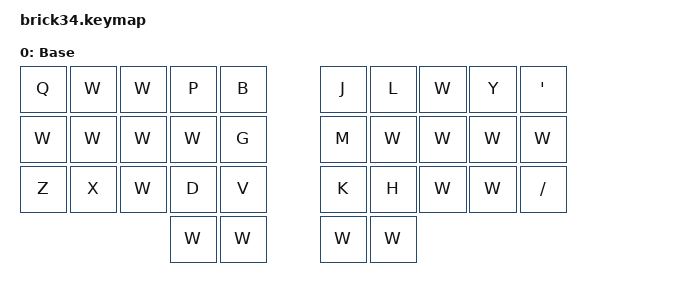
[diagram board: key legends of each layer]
// ZMK includes
#include <behaviors.dtsi>
#include <dt-bindings/zmk/keys.h>
#include <dt-bindings/zmk/bt.h>
#include <dt-bindings/zmk/ext_power.h>
#include <dt-bindings/zmk/outputs.h>

#include "../zmk-nodefree-config/helper.h"

// Personal includes
// #include "includes/custom_keycodes.dtsi"
// #include "includes/settings.dtsi"
// #include "includes/conditional_layers.dtsi"
// #include "includes/macros.dtsi"
// #include "includes/combos.dtsi"
// #include "includes/behaviours_homerow_mods.dtsi"
// #include "includes/behaviours_mod_morph.dtsi"
// #include "includes/behaviours_other.dtsi"

// Layer definitions
#define BASE 0
// #define BASE_QWERTY 1
// #define NAV_WORD 2
// #define NUM_WORD 3
// #define SYM_WORD 4
// #define NAV 5
// #define NUM 6
// #define SYM 7
// #define FUNC 8
// #define ADJUST 9
// #define LOWER 10
// -----------------


/ {

  keymap {
    compatible = "zmk,keymap";

    Base_layer {
      label = "Base";
      bindings = <
// ╭────────────────────────┬────────────────────────┬────────────────────────┬────────────────────────┬────────────────────────╮    ╭────────────────────────┬────────────────────────┬────────────────────────┬───────────────────────┬────────────────────────╮
     &kp Q                    &kp W                    &kp W         &kp P                    &kp B                         &kp J                    &kp L                    &kp W         &kp Y                    &kp SINGLE_QUOTE
// ├────────────────────────┼────────────────────────┼────────────────────────┼────────────────────────┼────────────────────────┤    ├────────────────────────┼────────────────────────┼────────────────────────┼───────────────────────┼────────────────────────┤
     &kp W            &kp W             &kp W             &kp W      &kp G                         &kp M                    &kp W      &kp W             &kp W             &kp W
// ├────────────────────────┼────────────────────────┼────────────────────────┼────────────────────────┼────────────────────────┤    ├────────────────────────┼────────────────────────┼────────────────────────┼───────────────────────┼────────────────────────┤
     &kp Z                    &kp X                    &kp W           &kp D                    &kp V                         &kp K                    &kp H                    &kp W       &kp W            &kp SLASH
// ╰────────────────────────┴────────────────────────┴────────────────────────┼────────────────────────┼────────────────────────┤    ├────────────────────────┼────────────────────────┼────────────────────────┼───────────────────────┼────────────────────────╯
                                                                  &kp W       &kp W                &kp W             &kp W           
//                                                   ╰────────────────────────┴────────────────────────┴────────────────────────╯    ╰────────────────────────┴────────────────────────┴────────────────────────╯

      >;
    };

//     Base_Qwerty_layer {
//       label = "QWERTY";
//       bindings = <
// // ╭────────────────────────┬────────────────────────┬────────────────────────┬────────────────────────┬────────────────────────╮    ╭────────────────────────┬────────────────────────┬────────────────────────┬────────────────────────┬────────────────────────╮
//      &trans                   &trans                   &kp E                    &kp R                    &kp T                         &kp Y                    &kp U                    &kp I                    &kp O                    &kp P
// // ├────────────────────────┼────────────────────────┼────────────────────────┼────────────────────────┼────────────────────────┤    ├────────────────────────┼────────────────────────┼────────────────────────┼────────────────────────┼────────────────────────┤
//      &kp A                    &kp S                    &kp D                    &kp F                    &trans                        &kp H                    &kp J                    &kp K                    &kp L                    &kp SEMICOLON
// // ├────────────────────────┼────────────────────────┼────────────────────────┼────────────────────────┼────────────────────────┤    ├────────────────────────┼────────────────────────┼────────────────────────┼────────────────────────┼────────────────────────┤
//      &trans                   &trans                   &kp C                    &kp V                    &kp B                         &kp N                    &kp M                    &kp COMMA                &trans                   &trans
// // ╰────────────────────────┴────────────────────────┴────────────────────────┼────────────────────────┼────────────────────────┤    ├────────────────────────┼────────────────────────┼────────────────────────┼────────────────────────┴────────────────────────╯
//                                                                           &trans                   &trans                        &trans                   &trans                   
// //                                                   ╰────────────────────────┴────────────────────────┴────────────────────────╯    ╰────────────────────────┴────────────────────────┴────────────────────────╯
//       >;
//     };

//     Nav_Word_layer {
//       label = "Nav Word";
//       bindings = <
// // ╭────────────────────────┬────────────────────────┬────────────────────────┬────────────────────────┬────────────────────────╮    ╭────────────────────────┬────────────────────────┬────────────────────────┬────────────────────────┬────────────────────────╮
//      &trans                   &kp LG(LEFT)             &none                    &kp LG(RIGHT)            &kp PG_UP                     &trans                   &trans                   &trans                   &trans                   &trans
// // ├────────────────────────┼────────────────────────┼────────────────────────┼────────────────────────┼────────────────────────┤    ├────────────────────────┼────────────────────────┼────────────────────────┼────────────────────────┼────────────────────────┤
//      &kt LSHFT                &kp LEFT                 &mm_up_save              &kp RIGHT                &kp PG_DN                     &trans                   &trans                   &trans                   &trans                   &trans
// // ├────────────────────────┼────────────────────────┼────────────────────────┼────────────────────────┼────────────────────────┤    ├────────────────────────┼────────────────────────┼────────────────────────┼────────────────────────┼────────────────────────┤
//      &trans                   &mm_left_word_cut        &mm_down_copy            &kp MY_RIGHT_W           &trans                        &trans                   &trans                   &trans                   &trans                   &trans
// // ╰────────────────────────┴────────────────────────┴────────────────────────┼────────────────────────┼────────────────────────┤    ├────────────────────────┼────────────────────────┼────────────────────────┼────────────────────────┴────────────────────────╯
//                                                              &trans                   &trans                        &trans                   &trans                   
// //                                                   ╰────────────────────────┴────────────────────────┴────────────────────────╯    ╰────────────────────────┴────────────────────────┴────────────────────────╯
//       >;
//     };

//     Num_Word_layer {
//       label = "Num Word";
//       bindings = <
// // ╭────────────────────────┬────────────────────────┬────────────────────────┬────────────────────────┬────────────────────────╮    ╭────────────────────────┬────────────────────────┬────────────────────────┬────────────────────────┬────────────────────────╮
//      &trans                   &kp NUMBER_7             &kp NUMBER_8             &kp NUMBER_9             &trans                        &trans                   &kp DOLLAR               &trans                   &trans                   &trans
// // ├────────────────────────┼────────────────────────┼────────────────────────┼────────────────────────┼────────────────────────┤    ├────────────────────────┼────────────────────────┼────────────────────────┼────────────────────────┼────────────────────────┤
//      &hm_l LCTRL NUMBER_0     &hm_l LALT NUMBER_4      &mm_5_save               &hm_l LSHFT NUMBER_6     &kp NUMBER_0                  &kp PLUS                 &trans                   &hm_r RGUI EQUAL         &trans                   &hm_r RCTRL ASTERISK
// // ├────────────────────────┼────────────────────────┼────────────────────────┼────────────────────────┼────────────────────────┤    ├────────────────────────┼────────────────────────┼────────────────────────┼────────────────────────┼────────────────────────┤
//      &trans                   &mm_1_cut                &mm_2_copy               &kp NUMBER_3             &trans                        &kp PERCENT              &kp MINUS                &trans                   &trans                   &trans
// // ╰────────────────────────┴────────────────────────┴────────────────────────┼────────────────────────┼────────────────────────┤    ├────────────────────────┼────────────────────────┼────────────────────────┼────────────────────────┴────────────────────────╯
//                                                              &trans                   &trans                        &trans                   &trans                   
// //                                                   ╰────────────────────────┴────────────────────────┴────────────────────────╯    ╰────────────────────────┴────────────────────────┴────────────────────────╯
//       >;
//     };

//     Sym_Word_layer {
//       label = "Sym Word";
//       bindings = <
// // ╭────────────────────────┬────────────────────────┬────────────────────────┬────────────────────────┬────────────────────────╮    ╭────────────────────────┬────────────────────────┬────────────────────────┬────────────────────────┬────────────────────────╮
//      &kp LG(Q)                &kp LG(W)                &none                    &none                    &kp LG(GRAVE)                 &mm_plus_minus           &kp AMPERSAND            &kp PIPE                 &kp TILDE                &mm_grave_caret
// // ├────────────────────────┼────────────────────────┼────────────────────────┼────────────────────────┼────────────────────────┤    ├────────────────────────┼────────────────────────┼────────────────────────┼────────────────────────┼────────────────────────┤
//      &kp LEFT_CONTROL         &kp LEFT_ALT             &kp LEFT_GUI             &td_shift_l              &swapper_cmd_tab              &kp EQUAL                &kp EXCLAMATION          &td_at_email             &kp HASH                 &kp ASTERISK
// // ├────────────────────────┼────────────────────────┼────────────────────────┼────────────────────────┼────────────────────────┤    ├────────────────────────┼────────────────────────┼────────────────────────┼────────────────────────┼────────────────────────┤
//      &kp LG(Z)                &kp LG(X)                &kp LG(C)                &none                    &kp LG(V)                     &kp PERCENT              &kp DOLLAR               &kp SEMICOLON            &kp COLON                &kp BACKSLASH
// // ╰────────────────────────┴────────────────────────┴────────────────────────┼────────────────────────┼────────────────────────┤    ├────────────────────────┼────────────────────────┼────────────────────────┼────────────────────────┴────────────────────────╯
//                                                              &trans                   &trans                        &trans                   &trans                   
// //                                                   ╰────────────────────────┴────────────────────────┴────────────────────────╯    ╰────────────────────────┴────────────────────────┴────────────────────────╯
//       >;
//     };

//     Nav_layer {
//       label = "Nav";
//       bindings = <
// // ╭────────────────────────┬────────────────────────┬────────────────────────┬────────────────────────┬────────────────────────╮    ╭────────────────────────┬────────────────────────┬────────────────────────┬────────────────────────┬────────────────────────╮
//      &none                    &kp LG(LEFT)             &none                    &kp LG(RIGHT)            &kp PG_UP                     &none                    &none                    &kp MY_HYPER             &none                    &none
// // ├────────────────────────┼────────────────────────┼────────────────────────┼────────────────────────┼────────────────────────┤    ├────────────────────────┼────────────────────────┼────────────────────────┼────────────────────────┼────────────────────────┤
//      &kt LSHFT                &kp LEFT                 &kp UP                   &kp RIGHT                &kp PG_DN                     &none                    &td_shift_r              &kp RIGHT_GUI            &kp RIGHT_ALT            &kp RIGHT_CONTROL
// // ├────────────────────────┼────────────────────────┼────────────────────────┼────────────────────────┼────────────────────────┤    ├────────────────────────┼────────────────────────┼────────────────────────┼────────────────────────┼────────────────────────┤
//      &mm_none_undo            &mm_left_word_cut        &mm_down_copy            &kp MY_RIGHT_W           &mm_none_paste                &none                    &none                    &kp MY_MEH               &none                    &none
// // ╰────────────────────────┴────────────────────────┴────────────────────────┼────────────────────────┼────────────────────────┤    ├────────────────────────┼────────────────────────┼────────────────────────┼────────────────────────┴────────────────────────╯
//                                                                   &trans                   &trans                        &trans                   &trans                   
// //                                                   ╰────────────────────────┴────────────────────────┴────────────────────────╯    ╰────────────────────────┴────────────────────────┴────────────────────────╯
//       >;
//     };

//     Num_layer {
//       label = "Num";
//       bindings = <
// // ╭────────────────────────┬────────────────────────┬────────────────────────┬────────────────────────┬────────────────────────╮    ╭────────────────────────┬────────────────────────┬────────────────────────┬────────────────────────┬────────────────────────╮
//      &none                    &kp NUMBER_7             &kp NUMBER_8             &kp NUMBER_9             &none                         &none                    &kp DOLLAR               &kp MY_HYPER             &none                    &none
// // ├────────────────────────┼────────────────────────┼────────────────────────┼────────────────────────┼────────────────────────┤    ├────────────────────────┼────────────────────────┼────────────────────────┼────────────────────────┼────────────────────────┤
//      &hm_l LCTRL NUMBER_0     &hm_l LALT NUMBER_4      &mm_5_save               &hm_l LSHFT NUMBER_6     &kp NUMBER_0                  &kp PLUS                 &td_shift_r              &hm_r RGUI EQUAL         &kp RIGHT_ALT            &hm_r RCTRL ASTERISK
// // ├────────────────────────┼────────────────────────┼────────────────────────┼────────────────────────┼────────────────────────┤    ├────────────────────────┼────────────────────────┼────────────────────────┼────────────────────────┼────────────────────────┤
//      &mm_none_undo            &mm_1_cut                &mm_2_copy               &kp NUMBER_3             &mm_none_paste                &kp PERCENT              &kp MINUS                &mm_comma_semi_meh       &mm_dot_colon            &kp SLASH
// // ╰────────────────────────┴────────────────────────┴────────────────────────┼────────────────────────┼────────────────────────┤    ├────────────────────────┼────────────────────────┼────────────────────────┼────────────────────────┴────────────────────────╯
//                                                                   &trans                   &trans                        &trans                   &trans                   
// //                                                   ╰────────────────────────┴────────────────────────┴────────────────────────╯    ╰────────────────────────┴────────────────────────┴────────────────────────╯
//       >;
//     };

//     Sym_layer {
//       label = "Sym";
//       bindings = <
// // ╭────────────────────────┬────────────────────────┬────────────────────────┬────────────────────────┬────────────────────────╮    ╭────────────────────────┬────────────────────────┬────────────────────────┬────────────────────────┬────────────────────────╮
//      &kp LG(Q)                &kp LG(W)                &kp LS(LC(TAB))          &kp LC(TAB)              &kp LG(GRAVE)                 &kp TILDE                &kp DOLLAR               &kp AMPERSAND            &kp PIPE                 &mm_grave_caret
// // ├────────────────────────┼────────────────────────┼────────────────────────┼────────────────────────┼────────────────────────┤    ├────────────────────────┼────────────────────────┼────────────────────────┼────────────────────────┼────────────────────────┤
//      &kp LEFT_CONTROL         &kp LEFT_ALT             &kp LEFT_GUI             &td_shift_l              &swapper_cmd_tab              &kp PLUS                 &kp EXCLAMATION          &kp EQUAL                &kp HASH                 &kp ASTERISK
// // ├────────────────────────┼────────────────────────┼────────────────────────┼────────────────────────┼────────────────────────┤    ├────────────────────────┼────────────────────────┼────────────────────────┼────────────────────────┼────────────────────────┤
//      &kp LG(Z)                &kp LG(X)                &kp LG(C)                &none &kp                LG(V)                         &kp PERCENT              &kp MINUS                &kp UNDERSCORE           &td_at_email             &kp BACKSLASH
// // ╰────────────────────────┴────────────────────────┴────────────────────────┼────────────────────────┼────────────────────────┤    ├────────────────────────┼────────────────────────┼────────────────────────┼────────────────────────┴────────────────────────╯
//                                                                   &trans                   &trans                        &trans                   &trans                   
// //                                                   ╰────────────────────────┴────────────────────────┴────────────────────────╯    ╰────────────────────────┴────────────────────────┴────────────────────────╯
//       >;
//     };

//     Func_layer {
//       label = "Func";
//       bindings = <
// // ╭────────────────────────┬────────────────────────┬────────────────────────┬────────────────────────┬────────────────────────╮    ╭────────────────────────┬────────────────────────┬────────────────────────┬────────────────────────┬────────────────────────╮
//      &trans                   &kp F7                   &kp F8                   &kp F9                   &kp F12                       &none                    &none                    &kp MY_HYPER             &none                    &none
// // ├────────────────────────┼────────────────────────┼────────────────────────┼────────────────────────┼────────────────────────┤    ├────────────────────────┼────────────────────────┼────────────────────────┼────────────────────────┼────────────────────────┤
//      &trans                   &kp F4                   &kp F5                   &kp F6                   &kp F11                       &none                    &td_shift_r              &kp RIGHT_GUI            &kp RIGHT_ALT            &kp RIGHT_CONTROL
// // ├────────────────────────┼────────────────────────┼────────────────────────┼────────────────────────┼────────────────────────┤    ├────────────────────────┼────────────────────────┼────────────────────────┼────────────────────────┼────────────────────────┤
//      &trans                   &kp F1                   &kp F2                   &kp F3                   &kp F10                       &none                    &none                    &kp MY_MEH               &none                    &none
// // ╰────────────────────────┴────────────────────────┴────────────────────────┼────────────────────────┼────────────────────────┤    ├────────────────────────┼────────────────────────┼────────────────────────┼────────────────────────┴────────────────────────╯
//                                                                 &trans                   &trans                        &trans                   &trans                   
// //                                                   ╰────────────────────────┴────────────────────────┴────────────────────────╯    ╰────────────────────────┴────────────────────────┴────────────────────────╯
//       >;
//     };

//     Adjust_layer {
//       label = "Adjust";
//       bindings = <
// // ╭────────────────────────┬────────────────────────┬────────────────────────┬────────────────────────┬────────────────────────╮    ╭────────────────────────┬────────────────────────┬────────────────────────┬────────────────────────┬────────────────────────╮
//      &kp LG(Q)                &kp LG(W)                &none                    &none                    &kp LG(GRAVE)                 &td_out_bt_clear         &bt BT_PRV               &bt BT_NXT               &ext_power EXT_POWER_TOGGLE_CMD &to BASE
// // ├────────────────────────┼────────────────────────┼────────────────────────┼────────────────────────┼────────────────────────┤    ├────────────────────────┼────────────────────────┼────────────────────────┼────────────────────────┼────────────────────────┤
//      &none                    &none                    &none                    &none                    &swapper_cmd_tab              &kp C_MUTE               &kp C_REWIND             &kp C_VOLUME_DOWN        &kp C_VOLUME_UP          &kp C_FAST_FORWARD
// // ├────────────────────────┼────────────────────────┼────────────────────────┼────────────────────────┼────────────────────────┤    ├────────────────────────┼────────────────────────┼────────────────────────┼────────────────────────┼────────────────────────┤
//      &kp LG(Z)                &kp LG(X)                &kp LG(C)                &none                    &kp LG(V)                     &none                    &kp C_PAUSE              &kp C_BRIGHTNESS_DEC     &kp C_BRIGHTNESS_INC     &none
// // ╰────────────────────────┴────────────────────────┴────────────────────────┼────────────────────────┼────────────────────────┤    ├────────────────────────┼────────────────────────┼────────────────────────┼────────────────────────┴────────────────────────╯
//                                                                &trans                   &trans                        &trans                   &trans                   
// //                                                   ╰────────────────────────┴────────────────────────┴────────────────────────╯    ╰────────────────────────┴────────────────────────┴────────────────────────╯
//       >;
//     };

//     Lower_layer {
//       label = "Lower";
//       bindings = <
// // ╭────────────────────────┬────────────────────────┬────────────────────────┬────────────────────────┬────────────────────────╮    ╭────────────────────────┬────────────────────────┬────────────────────────┬────────────────────────┬────────────────────────╮
//      &kp NUMBER_1             &kp NUMBER_2             &kp NUMBER_3             &kp NUMBER_4             &kp NUMBER_5                  &kp NUMBER_6             &kp NUMBER_7             &kp NUMBER_8             &kp NUMBER_9             &kp NUMBER_0
// // ├────────────────────────┼────────────────────────┼────────────────────────┼────────────────────────┼────────────────────────┤    ├────────────────────────┼────────────────────────┼────────────────────────┼────────────────────────┼────────────────────────┤
//      &kp EXCLAMATION          &kp AT_SIGN              &kp HASH                 &kp DOLLAR               &kp PERCENT                   &kp CARET                &kp AMPERSAND            &kp ASTERISK             &kp LEFT_PARENTHESIS     &kp RIGHT_PARENTHESIS
// // ├────────────────────────┼────────────────────────┼────────────────────────┼────────────────────────┼────────────────────────┤    ├────────────────────────┼────────────────────────┼────────────────────────┼────────────────────────┼────────────────────────┤
//      &kp EQUAL                &kp MINUS                &kp PLUS                 &kp LEFT_BRACE           &kp RIGHT_BRACE               &kp LEFT_BRACKET         &kp RIGHT_BRACKET        &kp SEMICOLON            &kp COLON                &kp BACKSLASH
// // ╰────────────────────────┴────────────────────────┴────────────────────────┼────────────────────────┼────────────────────────┤    ├────────────────────────┼────────────────────────┼────────────────────────┼────────────────────────┴────────────────────────╯
//                                                        &ltog LGUI ADJUST        &kp UNDERSCORE           &kp TILDE                     &trans                    &trans                  &trans
// //                                                   ╰────────────────────────┴────────────────────────┴────────────────────────╯    ╰────────────────────────┴────────────────────────┴────────────────────────╯
//       >;
//     };
  };

};
